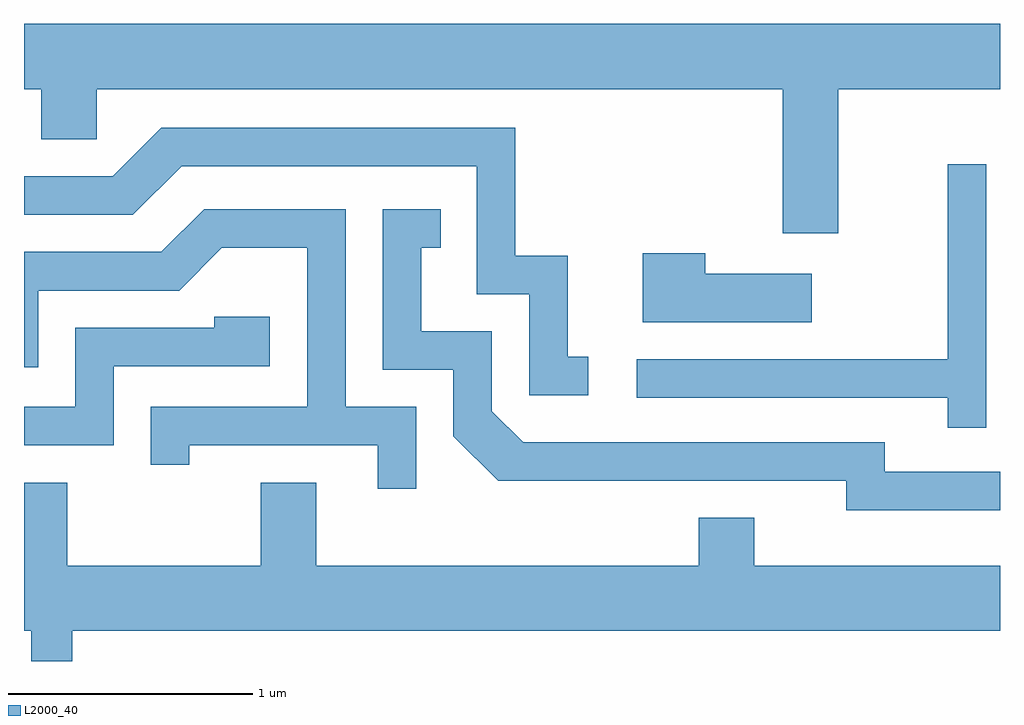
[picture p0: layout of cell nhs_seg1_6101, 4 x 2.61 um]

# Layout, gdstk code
import gdstk
lib = gdstk.Library(unit=1e-6, precision=1e-09)
def P(c, l, *ps):  # polygons
    for p in ps: c.add(gdstk.Polygon(p, *l))
L2000_40 = (2000, 40)

nhs_seg1_6101 = lib.new_cell('nhs_seg1_6101')
P(nhs_seg1_6101, L2000_40, [(372.949,864.056),(373.611,864.056),(373.611,864.324),(369.611,864.324),(369.611,864.056),(369.681,864.056),(369.681,863.851),(369.909,863.851),(369.909,864.056),(372.721,864.056),(372.721,863.466),(372.949,863.466)],
  [(371.923,862.959),(371.839,862.959),(371.839,863.374),(371.624,863.374),(371.624,863.899),(370.174,863.899),(369.974,863.699),(369.611,863.699),(369.611,863.541),(370.057,863.541),(370.257,863.741),(371.466,863.741),(371.466,863.216),(371.681,863.216),(371.681,862.801),(371.923,862.801)],
  [(373.554,863.748),(373.396,863.748),(373.396,862.949),(372.123,862.949),(372.123,862.791),(373.396,862.791),(373.396,862.668),(373.554,862.668)],
  [(371.219,862.754),(370.929,862.754),(370.929,863.564),(370.349,863.564),(370.174,863.389),(369.611,863.389),(369.611,862.916),(369.669,862.916),(369.669,863.231),(370.247,863.231),(370.422,863.406),(370.771,863.406),(370.771,862.754),(370.131,862.754),(370.131,862.518),(370.289,862.518),(370.289,862.596),(371.061,862.596),(371.061,862.418),(371.219,862.418)],
  [(373.611,862.489),(373.139,862.489),(373.139,862.609),(371.657,862.609),(371.529,862.737),(371.529,863.064),(371.239,863.064),(371.239,863.406),(371.318,863.406),(371.318,863.564),(371.081,863.564),(371.081,862.906),(371.371,862.906),(371.371,862.634),(371.554,862.451),(372.981,862.451),(372.981,862.331),(373.611,862.331)],
  [(372.839,863.299),(372.404,863.299),(372.404,863.384),(372.146,863.384),(372.146,863.101),(372.839,863.101)],
  [(369.979,862.921),(370.619,862.921),(370.619,863.124),(370.391,863.124),(370.391,863.079),(369.821,863.079),(369.821,862.754),(369.611,862.754),(369.611,862.596),(369.979,862.596)],
  [(369.809,861.836),(373.611,861.836),(373.611,862.104),(372.604,862.104),(372.604,862.299),(372.376,862.299),(372.376,862.104),(370.809,862.104),(370.809,862.444),(370.581,862.444),(370.581,862.104),(369.789,862.104),(369.789,862.444),(369.611,862.444),(369.611,861.836),(369.641,861.836),(369.641,861.712),(369.809,861.712)])

lib.write_gds('nhs_seg1_6101.gds')
